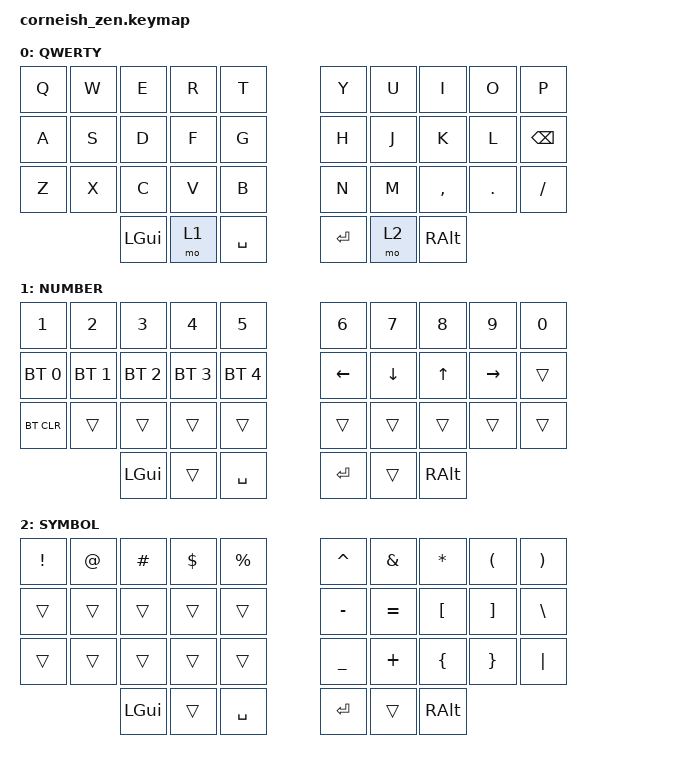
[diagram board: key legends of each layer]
#include <behaviors.dtsi>
#include <dt-bindings/zmk/bt.h>
#include <dt-bindings/zmk/keys.h>

/ {
    macros {
        m0: m0 {
            compatible = "zmk,behavior-macro";
            #binding-cells = <0>;
            bindings =
                <&macro_press>,
                <&kp LSHFT>,
                <&macro_tap>,
                <&kp Z &kp M &kp K>,
                <&macro_release>,
                <&kp LSHFT>;
        };
    };
};

/ {
    behaviors {
        td0: tap_dance_0 {
            compatible = "zmk,behavior-tap-dance";
            #binding-cells = <0>;
            tapping-term-ms = <200>;
            bindings = <&kp N1>, <&kp N2>, <&kp N3>;
        };
    };

    keymap {
        compatible = "zmk,keymap";

        default_layer {
            bindings = <
                &td0
            >;
        };
    };
};

/ {
    chosen {
        //zmk,matrix_transform = &default_transform;

        zmk,matrix_transform = &five_column_transform;
    };
};

/ {
    keymap {
        compatible = "zmk,keymap";

        default_layer {
            label = "QWERTY";

            // -----------------------------------------------------------------------------------------
            //  Q  |  W  |  E  |  R  |  T  |   |  Y  |  U   |  I  |  O  |  P  |
            //  A  |  S  |  D  |  F  |  G  |   |  H  |  J   |  K  |  L  |  ;  |
            //  Z  |  X  |  C  |  V  |  B  |   |  N  |  M   |  ,  |  .  |  /  |
            //                    | GUI | LWR | SPC |   | ENT | RSE  | ALT |

            bindings = <
  &kp Q  &kp W  &kp E     &kp R  &kp T        &kp Y    &kp U  &kp I      &kp O    &kp P
  &kp A  &kp S  &kp D     &kp F  &kp G        &kp H    &kp J  &kp K      &kp L    &kp BACKSPACE
  &kp Z  &kp X  &kp C     &kp V  &kp B        &kp N    &kp M  &kp COMMA  &kp DOT  &kp FSLH
                &kp LGUI  &mo 1  &kp SPACE    &kp RET  &mo 2  &kp RALT
            >;
        };

        lower_layer {
            label = "NUMBER";

            // -----------------------------------------------------------------------------------------
            //|  1  |  2  |  3  |  4  |  5  |   |  6  |  7  |  8  |  9  |  0  |
            // BT1 | BT2 | BT3 | BT4 | BT5 |   | LFT | DWN |  UP | RGT |     |
            //|     |     |     |     |     |   |     |     |     |     |     |
            //                    | GUI |     | SPC |   | ENT |     | ALT |

            bindings = <
  &kp N1        &kp N2        &kp N3        &kp N4        &kp N5          &kp N6    &kp N7    &kp N8    &kp N9     &kp N0
  &bt BT_SEL 0  &bt BT_SEL 1  &bt BT_SEL 2  &bt BT_SEL 3  &bt BT_SEL 4    &kp LEFT  &kp DOWN  &kp UP    &kp RIGHT  &trans
  &bt BT_CLR    &trans        &trans        &trans        &trans          &trans    &trans    &trans    &trans     &trans
                              &kp LGUI      &trans        &kp SPACE       &kp RET   &trans    &kp RALT
            >;
        };

        raise_layer {
            label = "SYMBOL";

            // -----------------------------------------------------------------------------------------
            //|  !  |  @  |  #  |  $  |  %  |   |  ^  |  &  |  *  |  (  |  )  |
            //|     |     |     |     |     |   |  -  |  =  |  [  |  ]  |  \  |
            //|     |     |     |     |     |   |  _  |  +  |  {  |  }  | "|" |
            //                    | GUI |     | SPC |   | ENT |     | ALT |

            bindings = <
  &kp EXCL  &kp AT  &kp HASH  &kp DLLR  &kp PRCNT    &kp CARET  &kp AMPS   &kp STAR  &kp LPAR  &kp RPAR
  &trans    &trans  &trans    &trans    &trans       &kp MINUS  &kp EQUAL  &kp LBKT  &kp RBKT  &kp BSLH
  &trans    &trans  &trans    &trans    &trans       &kp UNDER  &kp PLUS   &kp LBRC  &kp RBRC  &kp PIPE
                    &kp LGUI  &trans    &kp SPACE    &kp RET    &trans     &kp RALT
            >;
        };
    };
};
